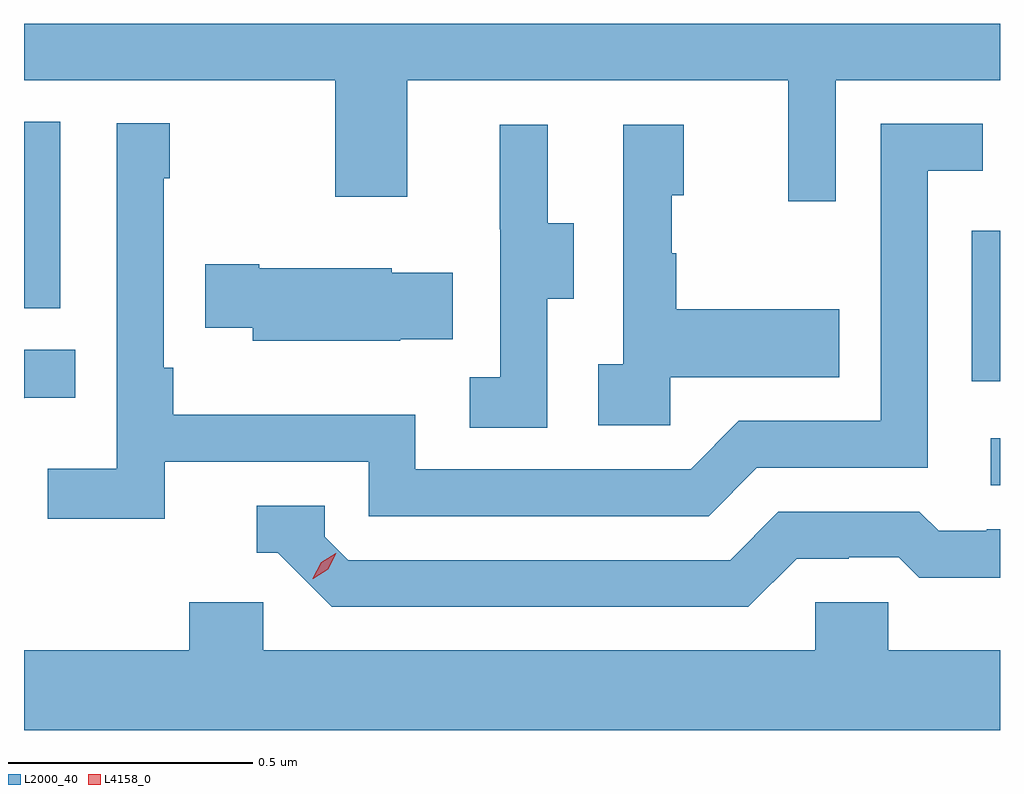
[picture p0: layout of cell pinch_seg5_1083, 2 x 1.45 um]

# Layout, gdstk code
import gdstk
lib = gdstk.Library(unit=1e-6, precision=1e-09)
def R(c, l, rs):  # rectangles x0, y0, x1, y1
    for r in rs: c.add(gdstk.rectangle(r[:2], r[2:], *l))
def P(c, l, *ps):  # polygons
    for p in ps: c.add(gdstk.Polygon(p, *l))
L2000_40 = (2000, 40)
L4158_0 = (4158, 0)

pinch_seg5_1083 = lib.new_cell('pinch_seg5_1083')
R(pinch_seg5_1083, L2000_40, [(854.925,863.922,854.944,864.018), (854.886,864.135,854.944,864.444), (852.944,864.285,853.018,864.667)])
P(pinch_seg5_1083, L2000_40, [(854.607,864.752),(854.944,864.752),(854.944,864.868),(852.944,864.868),(852.944,864.752),(853.582,864.752),(853.582,864.513),(853.729,864.513),(853.729,864.752),(854.51,864.752),(854.51,864.504),(854.607,864.504)],
  [(853.232,863.97),(853.65,863.97),(853.65,863.859),(854.347,863.859),(854.446,863.958),(854.796,863.958),(854.796,864.567),(854.909,864.567),(854.909,864.663),(854.7,864.663),(854.7,864.054),(854.409,864.054),(854.31,863.955),(853.746,863.955),(853.746,864.067),(853.25,864.067),(853.25,864.163),(853.23,864.163),(853.23,864.551),(853.243,864.551),(853.243,864.664),(853.134,864.664),(853.134,863.956),(852.993,863.956),(852.993,863.854),(853.232,863.854)],
  [(854.268,864.143),(854.615,864.143),(854.615,864.283),(854.281,864.283),(854.281,864.398),(854.271,864.398),(854.271,864.516),(854.296,864.516),(854.296,864.661),(854.172,864.661),(854.172,864.17),(854.121,864.17),(854.121,864.045),(854.268,864.045)],
  [(854.016,864.304),(854.071,864.304),(854.071,864.459),(854.017,864.459),(854.017,864.661),(853.919,864.661),(853.919,864.447),(853.92,864.447),(853.92,864.143),(853.857,864.143),(853.857,864.04),(854.016,864.04)],
  [(853.715,864.221),(853.823,864.221),(853.823,864.358),(853.698,864.358),(853.698,864.367),(853.426,864.367),(853.426,864.375),(853.315,864.375),(853.315,864.245),(853.413,864.245),(853.413,864.218),(853.715,864.218)],
  [(852.945,864.101),(853.049,864.101),(853.049,864.2),(852.944,864.2),(852.944,864.1)],
  [(854.527,863.772),(854.634,863.772),(854.634,863.775),(854.737,863.775),(854.779,863.733),(854.944,863.733),(854.944,863.832),(854.917,863.832),(854.917,863.829),(854.818,863.829),(854.779,863.868),(854.49,863.868),(854.391,863.769),(853.608,863.769),(853.56,863.817),(853.56,863.88),(853.421,863.88),(853.421,863.784),(853.464,863.784),(853.575,863.673),(854.428,863.673)],
  [(854.944,863.584),(854.715,863.584),(854.715,863.682),(854.565,863.682),(854.565,863.584),(853.434,863.584),(853.434,863.682),(853.283,863.682),(853.283,863.584),(852.944,863.584),(852.944,863.42),(854.944,863.42)])
P(pinch_seg5_1083, L4158_0, [(853.536,863.731),(853.536,863.732),(853.553,863.764),(853.583,863.783),(853.584,863.783),(853.584,863.783),(853.567,863.75),(853.537,863.731)])

lib.write_gds('pinch_seg5_1083.gds')
